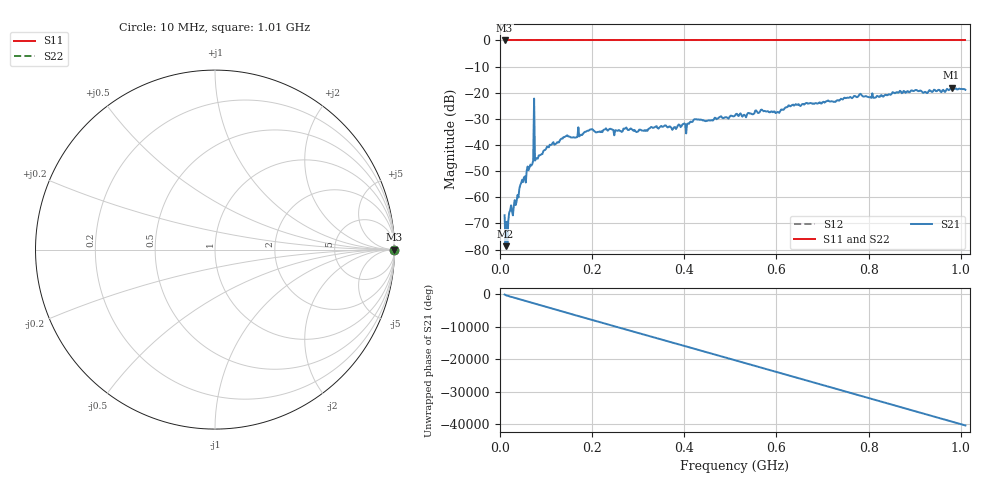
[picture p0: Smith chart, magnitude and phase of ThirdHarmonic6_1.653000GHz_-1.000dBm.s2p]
! 8/16/2025 7:47:50 PM
! C:\ANRITSUVNA\TEMP\TEMP.S2P
! CHANNEL.1
! TR.MEASUREMENT
! RAW.DATA
! RF.CORRECTION.OFF
! AVERAGING.OFF
! IF.BANDWIDTH: 5KHZ
! SWEEPTYPE:  FREQ.SWEEP(Linear)
! Reference Plane Port Info
! PORT:  PORT1  PORT2
! DISTANCE:  0  m  0  m
! TIME:  0  s  0  s
! PHASE.OFFSET:  0  deg.  0  deg.
! LOSS:  0  dB  0  dB
! REF.LOSS:  0  dB  0  dB
! REF.FREQ:  0  Hz  0  Hz
! Power Info
! POWER:  -20  dBm  -20  dBm
! EFF.POWER:  -20  dBm  -20  dBm
! SOURCE.ATTEN:  0  dB  0  dB
! TEST.ATTEN:  0  dB  0  dB
# GHZ S RI R 50.0
! FREQ.GHZ  S11RE  S11IM  S21RE  S21IM  S12RE  S12IM  S22RE  S22IM
!; PortSelection: Port_12
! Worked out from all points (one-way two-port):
!   501 points, 10 MHz to 1.01 GHz, reference 50 ohm
!   highest |S21| = -18.13 dB at 980 MHz (marker M1); lowest = -78.7 dB at 12 MHz (marker M2)
!   lowest |S11| = 0.0 dB at 10 MHz (marker M3)
!   |S11| at or under -10 dB: nowhere
!   |S22| runs from 0.0 to 0.0 dB; largest |S21 - S12| = 1.1
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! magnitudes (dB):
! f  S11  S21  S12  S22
! 10 MHz  0.0  -66.9  0.0  0.0
! 12 MHz  0.0  -78.7  0.0  0.0
! 16 MHz  0.0  -77.9  0.0  0.0
! 22 MHz  0.0  -65.1  0.0  0.0
! 32 MHz  0.0  -61.1  0.0  0.0
! 46 MHz  0.0  -54.6  0.0  0.0
! 68 MHz  0.0  -47.9  0.0  0.0
! 70 MHz  0.0  -47.4  0.0  0.0
! 78 MHz  0.0  -45.4  0.0  0.0
! 80 MHz  0.0  -45.0  0.0  0.0
! 142 MHz  0.0  -36.7  0.0  0.0
! 178 MHz  0.0  -36.2  0.0  0.0
! 198 MHz  0.0  -34.0  0.0  0.0
! 344 MHz  0.0  -33.7  0.0  0.0
! 378 MHz  0.0  -33.2  0.0  0.0
! 510 MHz  0.0  -28.7  0.0  0.0
! 602 MHz  0.0  -27.4  0.0  0.0
! 630 MHz  0.0  -25.2  0.0  0.0
! 678 MHz  0.0  -24.2  0.0  0.0
! 844 MHz  0.0  -20.6  0.0  0.0
! 980 MHz  0.0  -18.1  0.0  0.0
! 1.01 GHz  0.0  -18.9  0.0  0.0
